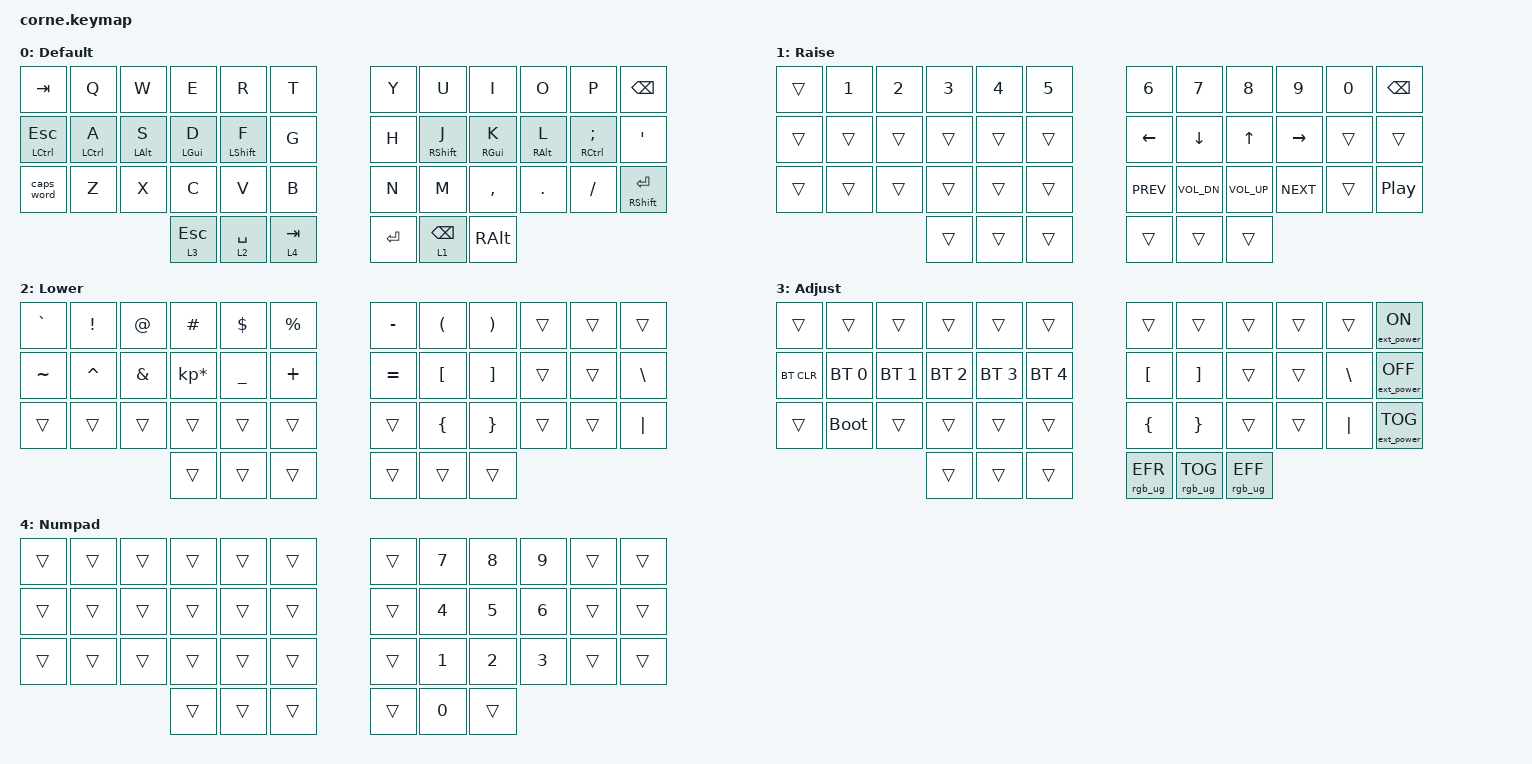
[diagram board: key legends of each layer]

/*
 * Copyright (c) 2020 The ZMK Contributors
 *
 * SPDX-License-Identifier: MIT
 */


/* THIS FILE WAS GENERATED!
 *
 * This file was generated automatically. You may or may not want to
 * edit it directly.
 */

#include <behaviors.dtsi>
#include <dt-bindings/zmk/bt.h>
#include <dt-bindings/zmk/keys.h>
#include <dt-bindings/zmk/ext_power.h>
#include <dt-bindings/zmk/rgb.h>
#include <dt-bindings/zmk/outputs.h>

&caps_word {
    continue-list = <UNDERSCORE MINUS>;
};

/ {
    behaviors {
        hm: homerow_mods {
            compatible = "zmk,behavior-hold-tap";
            label = "HOMEROW_MODS";
            #binding-cells = <2>;
            tapping-term-ms = <150>;
            quick-tap-ms = <0>;
            flavor = "tap-preferred";
            bindings = <&kp>, <&kp>;
        };
    };

    keymap {
        compatible = "zmk,keymap";


        default_layer {
            bindings = <
         &kp TAB       &kp Q       &kp W        &kp E         &kp R      &kp T               &kp Y            &kp U        &kp I       &kp O           &kp P    &kp BACKSPACE
   &hm LCTRL ESC  &hm LCTRL A  &hm LALT S  &hm LGUI D  &hm LSHIFT F      &kp G               &kp H     &hm RSHIFT J   &hm RGUI K  &hm RALT L  &hm RCTRL SEMI         &kp APOS
      &caps_word       &kp Z       &kp X        &kp C         &kp V      &kp B               &kp N            &kp M    &kp COMMA     &kp DOT        &kp FSLH  &mt RSHFT ENTER
                                            &lt 3 ESC   &lt 2 SPACE  &lt 4 TAB           &kp ENTER  &lt 1 BACKSPACE     &kp RALT
            >;
            
            label = "Default";
        };

        layer_raise {
            bindings = <
     &trans        &kp N1       &kp N2           &kp N3           &kp N4           &kp N5                &kp N6            &kp N7        &kp N8      &kp N9  &kp N0     &kp BACKSPACE
     &trans        &trans       &trans           &trans           &trans           &trans              &kp LEFT          &kp DOWN        &kp UP   &kp RIGHT  &trans            &trans
     &trans        &trans       &trans           &trans           &trans           &trans            &kp C_PREV      &kp C_VOL_DN  &kp C_VOL_UP  &kp C_NEXT  &trans  &kp C_PLAY_PAUSE
                                                 &trans           &trans           &trans                &trans             &trans       &trans
            >;

            label = "Raise";
        };

        layer_lower {
            bindings = <
 &kp GRAVE   &kp EXCL    &kp AT         &kp HASH         &kp DLLR        &kp PRCNT         &kp MINUS         &kp LPAR     &kp RPAR  &trans  &trans    &trans  
 &kp TILDE  &kp CARET  &kp AMPS  &kp KP_MULTIPLY        &kp UNDER         &kp PLUS         &kp EQUAL         &kp LBKT     &kp RBKT  &trans  &trans  &kp BSLH  
    &trans     &trans    &trans           &trans           &trans           &trans            &trans         &kp LBRC     &kp RBRC  &trans  &trans  &kp PIPE  
                                          &trans           &trans           &trans            &trans           &trans       &trans
            >;

            label = "Lower";
        };

        layer_adjust {
            bindings = <
     &trans        &trans        &trans           &trans           &trans           &trans              &trans           &trans           &trans    &trans    &trans  &ext_power EP_ON
 &bt BT_CLR  &bt BT_SEL 0  &bt BT_SEL 1     &bt BT_SEL 2     &bt BT_SEL 3     &bt BT_SEL 4            &kp LBKT         &kp RBKT           &trans    &trans  &kp BSLH  &ext_power EP_OFF
     &trans   &bootloader        &trans           &trans           &trans           &trans             &kp LBRC         &kp RBRC           &trans    &trans  &kp PIPE  &ext_power EP_TOG
                                                  &trans           &trans           &trans     &rgb_ug RGB_EFR  &rgb_ug RGB_TOG  &rgb_ug RGB_EFF              
            >;

            label = "Adjust";
        };

        layer_numpad {
            bindings = <
     &trans        &trans        &trans           &trans           &trans           &trans               &trans           &kp N7           &kp N8    &kp N9    &trans  &trans
     &trans        &trans        &trans           &trans           &trans           &trans               &trans           &kp N4           &kp N5    &kp N6    &trans  &trans
     &trans        &trans        &trans           &trans           &trans           &trans               &trans           &kp N1           &kp N2    &kp N3    &trans  &trans
                                                  &trans           &trans           &trans               &trans           &kp N0           &trans              
            >;

            label = "Numpad";
        };
    };
};
